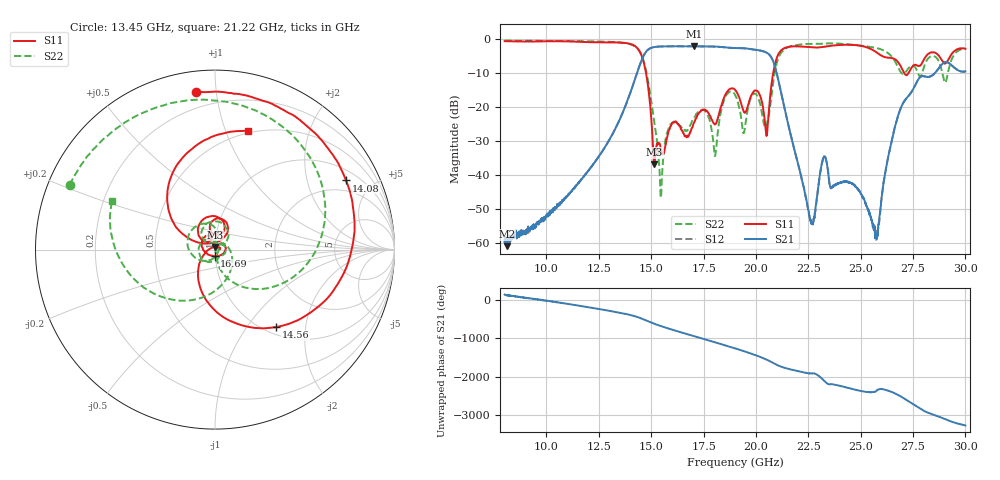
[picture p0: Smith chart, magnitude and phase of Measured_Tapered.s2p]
!Agilent Technologies,N5247A,US51370446,A.10.00.00
!Agilent N5247A: A.10.00.00
!Date: Tuesday, October 16, 2018 05:30:40
!Correction: S11(Full 2 Port(1,2))
!S21(Full 2 Port(1,2))
!S12(Full 2 Port(1,2))
!S22(Full 2 Port(1,2))
!S2P File: Measurements: S11, S21, S12, S22:
# Hz S  RI  R 50
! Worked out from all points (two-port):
!   2001 points, 8 GHz to 30 GHz, reference 50 ohm
!   highest |S21| = -2.18 dB at 17.05 GHz (marker M1); lowest = -60.8 dB at 8.099 GHz (marker M2)
!   |S21| within 3 dB of the highest: 14.62 GHz to 20.71 GHz (6.089 GHz wide, 34.5 % of centre)
!   lowest |S11| = -36.8 dB at 15.15 GHz (marker M3), VSWR 1.03, Z = 50 + j1.45 ohm
!   |S11| at or under -10 dB: 14.75 GHz to 20.82 GHz (6.074 GHz wide, 34.2 % of centre); 27.07 GHz to 27.29 GHz (214.8 MHz wide, 0.79 % of centre)
!   |S22| runs from -46.7 to -0.5 dB; largest |S21 - S12| = 0.0049
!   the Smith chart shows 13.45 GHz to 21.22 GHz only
!   S11 on the Smith chart (normalised r, x): 13.45 GHz: 0.11, +0.88; 14.08 GHz: 1.44, +3.48; 14.56 GHz: 1.13, -1.39; 16.69 GHz: 0.99, -0.07; 21.22 GHz: 0.48, +1.20
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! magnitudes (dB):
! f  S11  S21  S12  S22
! 8 GHz  -0.7  -59.6  -58.7  -0.5
! 8.099 GHz  -0.7  -60.8  -59.1  -0.5
! 11.67 GHz  -0.9  -41.2  -41.1  -0.7
! 13.45 GHz  -1.1  -24.3  -24.3  -1.0
! 14.08 GHz  -1.7  -14.4  -14.4  -1.8
! 14.56 GHz  -5.2  -6.0  -6.1  -5.1
! 15.15 GHz  -36.8  -2.4  -2.4  -24.6
! 15.34 GHz  -30.7  -2.3  -2.3  -33.5
! 16.69 GHz  -28.9  -2.2  -2.2  -27.0
! 17.05 GHz  -24.4  -2.2  -2.2  -23.2
! 18.05 GHz  -25.1  -2.3  -2.3  -34.4
! 19 GHz  -15.0  -2.7  -2.7  -16.4
! 19.4 GHz  -21.1  -2.8  -2.8  -27.7
! 19.92 GHz  -15.3  -3.2  -3.2  -16.1
! 20.51 GHz  -28.5  -4.1  -4.0  -25.4
! 21.22 GHz  -3.3  -16.4  -16.4  -3.9
! 22.67 GHz  -2.5  -54.2  -54.5  -1.5
! 23.27 GHz  -2.4  -34.5  -34.4  -1.4
! 25.77 GHz  -4.0  -58.6  -58.3  -2.7
! 26.34 GHz  -5.6  -34.0  -34.0  -4.3
! 27.81 GHz  -7.9  -11.4  -11.4  -11.1
! 30 GHz  -2.9  -9.6  -9.6  -2.9
